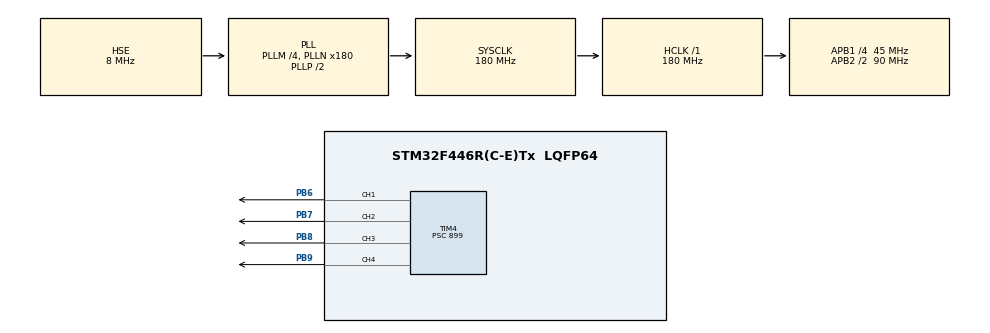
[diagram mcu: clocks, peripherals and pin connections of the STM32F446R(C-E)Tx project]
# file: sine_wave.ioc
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Mcu.Family=STM32F4
Mcu.Name=STM32F446R(C-E)Tx
Mcu.Package=LQFP64
Mcu.UserConstants=SAMPLE_RANGE,1000
NVIC.PriorityGroup=NVIC_PRIORITYGROUP_0
NVIC.TIM4_IRQn=true\:0\:0\:false\:false\:true\:true\:true\:true
PA13.Mode=Serial_Wire
PA13.Signal=SYS_JTMS-SWDIO
PA14.Mode=Serial_Wire
PA14.Signal=SYS_JTCK-SWCLK
PB6.Signal=S_TIM4_CH1
PB7.Signal=S_TIM4_CH2
PB8.Signal=S_TIM4_CH3
PB9.Signal=S_TIM4_CH4
PH0-OSC_IN.Mode=HSE-External-Oscillator
PH0-OSC_IN.Signal=RCC_OSC_IN
PH1-OSC_OUT.Mode=HSE-External-Oscillator
PH1-OSC_OUT.Signal=RCC_OSC_OUT
ProjectManager.HeapSize=0x200
ProjectManager.StackSize=0x400
ProjectManager.TargetToolchain=Makefile
RCC.AHBFreq_Value=180000000
RCC.APB1CLKDivider=RCC_HCLK_DIV4
RCC.APB1Freq_Value=45000000
RCC.APB1TimFreq_Value=90000000
RCC.APB2CLKDivider=RCC_HCLK_DIV2
RCC.APB2Freq_Value=90000000
RCC.APB2TimFreq_Value=180000000
RCC.CortexFreq_Value=180000000
RCC.FLatency-AdvancedSettings=FLASH_LATENCY_5
RCC.HCLKFreq_Value=180000000
RCC.HSE_VALUE=8000000
RCC.HSI_VALUE=16000000
RCC.LSE_VALUE=32768
RCC.PLLM=4
RCC.PLLN=180
RCC.PLLSourceVirtual=RCC_PLLSOURCE_HSE
RCC.SYSCLKFreq_VALUE=180000000
RCC.SYSCLKSource=RCC_SYSCLKSOURCE_PLLCLK
RCC.USBFreq_Value=180000000
RCC.VCOOutputFreq_Value=360000000
SH.S_TIM4_CH1.0=TIM4_CH1,PWM Generation1 CH1
SH.S_TIM4_CH2.0=TIM4_CH2,PWM Generation2 CH2
SH.S_TIM4_CH3.0=TIM4_CH3,PWM Generation3 CH3
SH.S_TIM4_CH4.0=TIM4_CH4,PWM Generation4 CH4
TIM4.Channel-PWM\ Generation1\ CH1=TIM_CHANNEL_1
TIM4.Channel-PWM\ Generation2\ CH2=TIM_CHANNEL_2
TIM4.Channel-PWM\ Generation3\ CH3=TIM_CHANNEL_3
TIM4.Channel-PWM\ Generation4\ CH4=TIM_CHANNEL_4
TIM4.OCPolarity_1=TIM_OCPOLARITY_LOW
TIM4.OCPolarity_2=TIM_OCPOLARITY_LOW
TIM4.OCPolarity_3=TIM_OCPOLARITY_LOW
TIM4.OCPolarity_4=TIM_OCPOLARITY_LOW
TIM4.Period=SAMPLE_RANGE - 1
TIM4.Prescaler=899
VP_TIM4_VS_ClockSourceINT.Mode=Internal
board=NUCLEO-F446RE

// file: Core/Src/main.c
/* USER CODE BEGIN Header */
/**
  ******************************************************************************
  * @file           : main.c
  * @brief          : Main program body
  ******************************************************************************
  * @attention
  *
  * Copyright (c) 2025 STMicroelectronics.
  * All rights reserved.
  *
  * This software is licensed under terms that can be found in the LICENSE file
  * in the root directory of this software component.
  * If no LICENSE file comes with this software, it is provided AS-IS.
  *
  ******************************************************************************
  */
/* USER CODE END Header */
#include "main.h"
#include "tim.h"
#include "gpio.h"

/* USER CODE BEGIN Includes */
#include <math.h>
/* USER CODE END Includes */

/* USER CODE BEGIN PD */
#define SAMPLE_DELAY 10
#define SAMPLE_FREQ (1000 / SAMPLE_DELAY)
#define SAMPLE_MID (SAMPLE_RANGE / 2)
#define M_PI 3.14
/* USER CODE END PD */

/* USER CODE BEGIN PV */
uint32_t led_channels[] = {TIM_CHANNEL_1, TIM_CHANNEL_2, TIM_CHANNEL_3, TIM_CHANNEL_4};

float angles[] = {0, 0, 0, 0};

float angle_changes[] = {(1 * (2 * M_PI / SAMPLE_FREQ)),
                        (2 * (2 * M_PI / SAMPLE_FREQ)),
                        (0.5 * (2 * M_PI / SAMPLE_FREQ)),
                        (0.25 * (2 * M_PI / SAMPLE_FREQ))};
/* USER CODE END PV */

void SystemClock_Config(void);

/* USER CODE BEGIN 0 */
inline void HAL_TIM_PWM_PulseFinishedCallback(TIM_HandleTypeDef *htim) {
    if (htim->Instance == TIM4) {

        for (int i = 0; i < sizeof(angles) / sizeof(angles[0]); ++i) {

            angles[i] += angle_changes[i];

            if (angles[i] >= 2 * M_PI)
                angles[i] -= (2 * M_PI);

            __HAL_TIM_SET_COMPARE(&htim4, led_channels[i], SAMPLE_MID - (SAMPLE_MID * sin(angles[i]) ));
        }
    }
}
/* USER CODE END 0 */

int main(void)
{

  /* MCU Configuration--------------------------------------------------------*/

  /* Reset of all peripherals, Initializes the Flash interface and the Systick. */
  HAL_Init();

  /* Configure the system clock */
  SystemClock_Config();

  /* Initialize all configured peripherals */
  MX_GPIO_Init();
  MX_TIM4_Init();
  /* USER CODE BEGIN 2 */
  HAL_TIM_PWM_Start_IT(&htim4, TIM_CHANNEL_1);
  HAL_TIM_PWM_Start(&htim4, TIM_CHANNEL_2);
  HAL_TIM_PWM_Start(&htim4, TIM_CHANNEL_3);
  HAL_TIM_PWM_Start(&htim4, TIM_CHANNEL_4);
  /* USER CODE END 2 */

  /* Infinite loop */
  while (1)
  {
    /* USER CODE END WHILE */

  }
}

void SystemClock_Config(void)
{
  RCC_OscInitTypeDef RCC_OscInitStruct = {0};
  RCC_ClkInitTypeDef RCC_ClkInitStruct = {0};

  /** Configure the main internal regulator output voltage
  */
  __HAL_RCC_PWR_CLK_ENABLE();
  __HAL_PWR_VOLTAGESCALING_CONFIG(PWR_REGULATOR_VOLTAGE_SCALE1);

  /** Initializes the RCC Oscillators according to the specified parameters
  * in the RCC_OscInitTypeDef structure.
  */
  RCC_OscInitStruct.OscillatorType = RCC_OSCILLATORTYPE_HSE;
  RCC_OscInitStruct.HSEState = RCC_HSE_ON;
  RCC_OscInitStruct.PLL.PLLState = RCC_PLL_ON;
  RCC_OscInitStruct.PLL.PLLSource = RCC_PLLSOURCE_HSE;
  RCC_OscInitStruct.PLL.PLLM = 4;
  RCC_OscInitStruct.PLL.PLLN = 180;
  RCC_OscInitStruct.PLL.PLLP = RCC_PLLP_DIV2;
  RCC_OscInitStruct.PLL.PLLQ = 2;
  RCC_OscInitStruct.PLL.PLLR = 2;
  if (HAL_RCC_OscConfig(&RCC_OscInitStruct) != HAL_OK)
  {
    Error_Handler();
  }

  /** Activate the Over-Drive mode
  */
  if (HAL_PWREx_EnableOverDrive() != HAL_OK)
  {
    Error_Handler();
  }

  /** Initializes the CPU, AHB and APB buses clocks
  */
  RCC_ClkInitStruct.ClockType = RCC_CLOCKTYPE_HCLK|RCC_CLOCKTYPE_SYSCLK
                              |RCC_CLOCKTYPE_PCLK1|RCC_CLOCKTYPE_PCLK2;
  RCC_ClkInitStruct.SYSCLKSource = RCC_SYSCLKSOURCE_PLLCLK;
  RCC_ClkInitStruct.AHBCLKDivider = RCC_SYSCLK_DIV1;
  RCC_ClkInitStruct.APB1CLKDivider = RCC_HCLK_DIV4;
  RCC_ClkInitStruct.APB2CLKDivider = RCC_HCLK_DIV2;

  if (HAL_RCC_ClockConfig(&RCC_ClkInitStruct, FLASH_LATENCY_5) != HAL_OK)
  {
    Error_Handler();
  }
}

void Error_Handler(void)
{
  __disable_irq();
  while (1)
  {
  }
}
